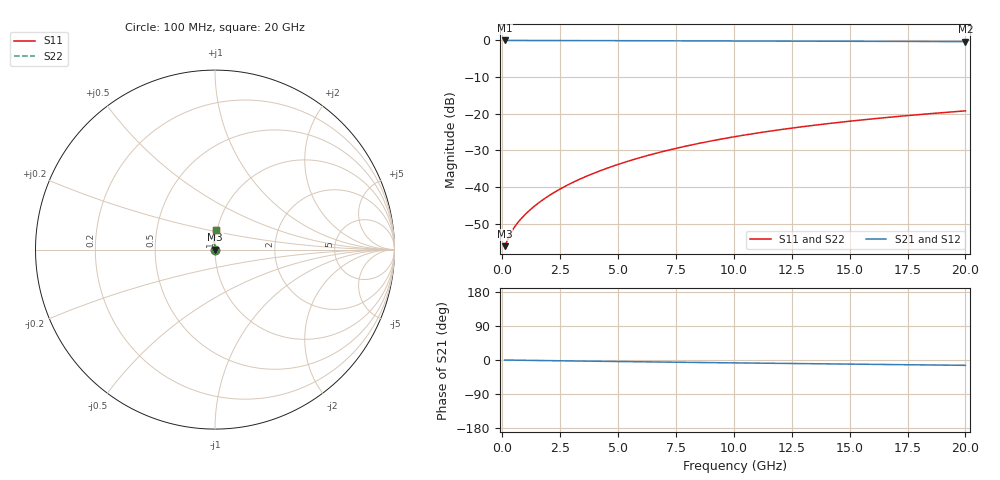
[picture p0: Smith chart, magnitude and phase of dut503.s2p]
! Touchstone file exported from HFSS 2024.1.0
!  File:  C:/UserFiles/LocalFiles/RDL_TSV_Batchsim/temp_RDL_top_503_1779679178.aedt
!  Generated:  11:21:44 AM May 25, 2026
!  Design:  RDL_top
!  Project:  temp_RDL_top_503_1779679178
!  Setup:  Setup1
!  Solution:  Sweep
! Variables:
!  dtsv = 10.80580581um
!  hbump = 3um
!  htsv = 76.11um
!  ldown = 100um
!  lrdl = 211.86um
!  p = 40
!  p1 = 40.47um
!  rhole = 1um
!  t = 450um
!  tdown = 3.915915916um
!  trdl = 2.42um
!  wdown = 15.38538539um
!  wrdl = 28.24um
# GHz S MA R 50.000000
! Terminal data exported
! Port[1] = Box2_T1
! Port[2] = Box2_T2
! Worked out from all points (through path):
!   200 points, 100 MHz to 20 GHz, reference 50 ohm
!   highest |S21| = -0.01 dB at 100 MHz (marker M1); lowest = -0.3 dB at 20 GHz (marker M2)
!   group delay of S21, straight-line fit = 1.92 ps
!   lowest |S11| = -56.1 dB at 100 MHz (marker M3), VSWR 1.00, Z = 50.1 + j0.0494 ohm
!   |S11| at or under -10 dB: start of sweep to end of sweep
!   |S22| runs from -56.1 to -19.2 dB; largest |S21 - S12| = 3.7e-15
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0.1  0.001569 18.3  0.9985 -0.1  0.9985 -0.1  0.001569 18.3
! Gamma 0 0 0 0
! Port Impedance 50 0 50 0
0.3  0.00214 40.2  0.9983 -0.3  0.9983 -0.3  0.00214 40.2
0.4  0.002462 46.0  0.9982 -0.4  0.9982 -0.4  0.002462 46.0
0.5  0.002774 50.3  0.9981 -0.4  0.9981 -0.4  0.002774 50.3
0.6  0.003078 53.9  0.998 -0.5  0.998 -0.5  0.003078 53.9
0.9  0.003977 62.3  0.9977 -0.8  0.9977 -0.8  0.003977 62.3
1.2  0.004903 68.5  0.9975 -1.0  0.9975 -1.0  0.004903 68.5
1.7  0.006551 76.1  0.997 -1.4  0.997 -1.4  0.006551 76.1
2.2  0.008327 81.3  0.9964 -1.8  0.9964 -1.8  0.008327 81.3
2.8  0.01062 85.8  0.9956 -2.3  0.9956 -2.3  0.01062 85.8
3.5  0.0135 89.5  0.9945 -2.9  0.9945 -2.9  0.0135 89.5
4.2  0.01661 92.1  0.9932 -3.4  0.9932 -3.4  0.01661 92.1
5  0.02042 94.1  0.9917 -4.0  0.9917 -4.0  0.02042 94.1
5.9  0.02501 95.4  0.9898 -4.7  0.9898 -4.7  0.025 95.4
6.8  0.02986 96.0  0.9878 -5.4  0.9878 -5.4  0.02985 96.0
8.4  0.03898 96.1  0.9843 -6.5  0.9843 -6.5  0.03897 96.1
10.1  0.04911 95.2  0.9807 -7.7  0.9807 -7.7  0.0491 95.2
11.7  0.05888 94.0  0.9776 -8.7  0.9776 -8.7  0.05887 93.9
13.4  0.06935 92.4  0.9744 -9.8  0.9744 -9.8  0.06933 92.4
15  0.0792 90.8  0.9717 -10.9  0.9717 -10.9  0.07918 90.8
16.7  0.08963 89.2  0.9689 -12.0  0.9689 -12.0  0.0896 89.1
20  0.1096 86.0  0.9639 -14.1  0.9639 -14.1  0.1096 85.9
